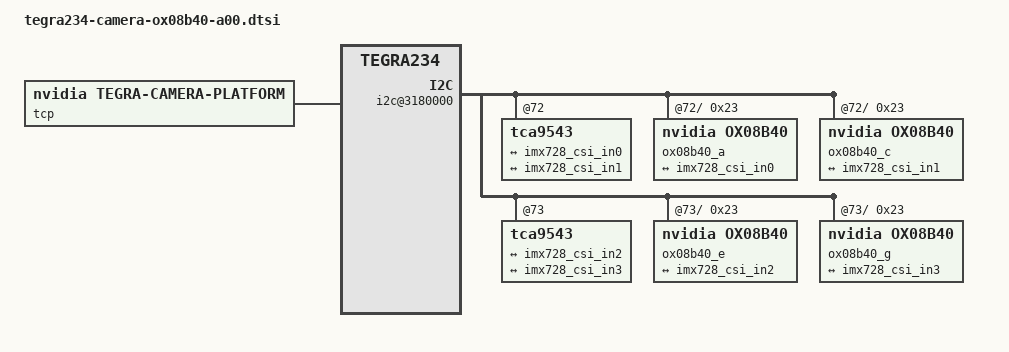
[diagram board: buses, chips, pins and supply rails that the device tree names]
/*
 * Copyright (c) 2018-2021, NVIDIA CORPORATION.  All rights reserved.
 *
 * This program is free software; you can redistribute it and/or modify it
 * under the terms and conditions of the GNU General Public License,
 * version 2, as published by the Free Software Foundation.
 *
 * This program is distributed in the hope it will be useful, but WITHOUT
 * ANY WARRANTY; without even the implied warranty of MERCHANTABILITY or
 * FITNESS FOR A PARTICULAR PURPOSE.  See the GNU General Public License for
 * more details.
 *
 * You should have received a copy of the GNU General Public License
 * along with this program.  If not, see <http://www.gnu.org/licenses/>.
 */
//#include <./tegra234-otocam-camera-all-mode.dtsi>
/ {
	tegra-capture-vi {
		num-channels = <4>;
		ports {
			#address-cells = <1>;
			#size-cells = <0>;
			port@0 {
				reg = <0>;
				imx728_vi_in0: endpoint {
					vc-id = <0>;
					port-index = <0>;
					bus-width = <4>;
					remote-endpoint = <&imx728_csi_out0>;
				};
			};
			port@1 {
				reg = <1>;
				imx728_vi_in1: endpoint {
					port-index = <2>;
					bus-width = <4>;
					remote-endpoint = <&imx728_csi_out1>;
				};
			};
			port@2 {
				reg = <2>;
				imx728_vi_in2: endpoint {
					port-index = <4>;
					bus-width = <4>;
					remote-endpoint = <&imx728_csi_out2>;
				};
			};
			port@3 {
				reg = <3>;
				imx728_vi_in3: endpoint {
					port-index = <5>;
					bus-width = <4>;
					remote-endpoint = <&imx728_csi_out3>;
				};
			};
		};
	};

	host1x@13e00000 {
		nvcsi@15a00000 {
			num-channels = <4>;
			#address-cells = <1>;
			#size-cells = <0>;
			channel@0 {
				reg = <0>;
				ports {
					#address-cells = <1>;
					#size-cells = <0>;
					port@0 {
						reg = <0>;
						imx728_csi_in0: endpoint@0 {
							port-index = <0>;
							bus-width = <4>;
							remote-endpoint = <&imx728_out0>;
						};
					};
					port@1 {
						reg = <1>;
						imx728_csi_out0: endpoint@1 {
							remote-endpoint = <&imx728_vi_in0>;
						};
					};
				};
			};
			channel@1 {
				reg = <1>;
				ports {
					#address-cells = <1>;
					#size-cells = <0>;
					port@0 {
						reg = <0>;
						imx728_csi_in1: endpoint@0 {
							port-index = <2>;
							bus-width = <4>;
							remote-endpoint = <&imx728_out1>;
						};
					};
					port@1 {
						reg = <1>;
						imx728_csi_out1: endpoint@1 {
							remote-endpoint = <&imx728_vi_in1>;
						};
					};
				};
			};
			channel@2 {
				reg = <2>;
				ports {
					#address-cells = <1>;
					#size-cells = <0>;
					port@0 {
						reg = <0>;
						imx728_csi_in2: endpoint@0 {
							port-index = <4>;
							bus-width = <4>;
							remote-endpoint = <&imx728_out2>;
						};
					};
					port@1 {
						reg = <1>;
						imx728_csi_out2: endpoint@1 {
							remote-endpoint = <&imx728_vi_in2>;
						};
					};
				};
			};
			channel@3 {
				reg = <3>;
				ports {
					#address-cells = <1>;
					#size-cells = <0>;
					port@0 {
						reg = <0>;
						imx728_csi_in3: endpoint@0 {
							port-index = <5>;
							bus-width = <4>;
							remote-endpoint = <&imx728_out3>;
						};
					};
					port@1 {
						reg = <1>;
						imx728_csi_out3: endpoint@1 {
							remote-endpoint = <&imx728_vi_in3>;
						};
					};
				};
			};
		};
	};

	i2c@3180000 {
		tca9543@72 {
			i2c@0 {
			ox08b40_a@23 {
				compatible = "nvidia,ox08b40";
				reg = <0x23>;
				devnode = "video0";
				reg_mux = <0>;
				/* Physical dimensions of sensor */
				physical_w = "15.0";
				physical_h = "12.5";

				sensor_model ="ox08b40";

				/* Defines number of frames to be dropped by driver internally after applying */
				/* sensor crop settings. Some sensors send corrupt frames after applying */
				/* crop co-ordinates */
				post_crop_frame_drop = "0";

				/* Convert Gain to unit of dB (decibel) befor passing to kernel driver */
				use_decibel_gain = "true";	// FIX:?

				/* if true, delay gain setting by one frame to be in sync with exposure */
					delayed_gain = "true";

				/* enable CID_SENSOR_MODE_ID for sensor modes selection */
				use_sensor_mode_id = "true";
				mode0 {
					mclk_khz = "27000";
					tegra_sinterface = "serial_a";
					phy_mode = "DPHY";
					vc_id = "0";
					num_lanes = "4";
					discontinuous_clk = "no";
					dpcm_enable = "false";
					cil_settletime = "0";
					dynamic_pixel_bit_depth = "16";
					csi_pixel_bit_depth = "16";
					mode_type = "yuv";
					pixel_phase = "uyvy";

					active_w = "3840";
					active_h = "2160";
					readout_orientation = "0";
					line_length = "5000";
					inherent_gain = "1";
					mclk_multiplier = "2";
					pix_clk_hz = "168750000";
					serdes_pix_clk_hz = "375000000";

					gain_factor = "10";
					min_gain_val = "0"; /* dB */
					max_gain_val = "480"; /* dB */
					step_gain_val = "3"; /* 0.1 */
					default_gain = "0";
					min_hdr_ratio = "1";
					max_hdr_ratio = "1";
					framerate_factor = "1000000";
					min_framerate = "30000000";
					max_framerate = "30000000";
					step_framerate = "1";
					default_framerate = "30000000";
					exposure_factor = "1000000";
					min_exp_time = "30"; /* us */
					max_exp_time = "33000";
					step_exp_time = "1";
					default_exp_time = "30000";/* us */
					embedded_metadata_height = "0";
					
				};
				ports {
					#address-cells = <1>;
					#size-cells = <0>;
					port@0 {
						reg = <0>;
						imx728_out0: endpoint {
							vc-id = <0>;
							port-index = <0>;
							bus-width = <4>;
							remote-endpoint = <&imx728_csi_in0>;
						};
					};
				};
			};

		};

                i2c@1 {
                        ox08b40_c@23 {
                                compatible = "nvidia,ox08b40";
                                reg = <0x23>;
                                devnode = "video1";
                                reg_mux = <1>;
                                physical_w = "15.0";
                                physical_h = "12.5";

                                sensor_model ="ox08b40";

                                post_crop_frame_drop = "0";

                                use_decibel_gain = "true";      // FIX:?

                                        delayed_gain = "true";

                                use_sensor_mode_id = "true";
                                mode0 {
                                        mclk_khz = "27000";
                                        tegra_sinterface = "serial_c";
                                        phy_mode = "DPHY";
                                        vc_id = "0";
                                        num_lanes = "4";
                                        discontinuous_clk = "no";
                                        dpcm_enable = "false";
                                        cil_settletime = "0";
                                        dynamic_pixel_bit_depth = "16";
                                        csi_pixel_bit_depth = "16";
                                        mode_type = "yuv";
                                        pixel_phase = "uyvy";

                                        active_w = "3840";
                                        active_h = "2160";
                                        readout_orientation = "0";
                                        line_length = "5000";
                                        inherent_gain = "1";
                                        mclk_multiplier = "2";
                                        pix_clk_hz = "168750000";
                                        serdes_pix_clk_hz = "375000000";

                                        gain_factor = "10";
                                        min_gain_val = "0"; /* dB */
                                        max_gain_val = "480"; /* dB */
                                        step_gain_val = "3"; /* 0.1 */
                                        default_gain = "0";
                                        min_hdr_ratio = "1";
                                        max_hdr_ratio = "1";
                                        framerate_factor = "1000000";
                                        min_framerate = "30000000";
                                        max_framerate = "30000000";
                                        step_framerate = "1";
                                        default_framerate = "30000000";
                                        exposure_factor = "1000000";
                                        min_exp_time = "30"; /* us */
                                        max_exp_time = "33000";
                                        step_exp_time = "1";
                                        default_exp_time = "30000";/* us */
                                        embedded_metadata_height = "0";

                                };
                                ports {
                                        #address-cells = <1>;
                                        #size-cells = <0>;
                                        port@0 {
                                                reg = <0>;
                                                imx728_out1: endpoint {
                                                        vc-id = <0>;
                                                        port-index = <2>;
                                                        bus-width = <4>;
                                                        remote-endpoint = <&imx728_csi_in1>;
                                                };
                                        };
                                };
                        };

                };

	};
               tca9543@73 {
                        i2c@0 {
                      ox08b40_e@23 {
                                compatible = "nvidia,ox08b40";
                                reg = <0x23>;
                                devnode = "video2";
                                reg_mux = <0>;
                                physical_w = "15.0";
                                physical_h = "12.5";

                                sensor_model ="ox08b40";

                                post_crop_frame_drop = "0";

                                use_decibel_gain = "true";   

                                        delayed_gain = "true";

                                use_sensor_mode_id = "true";
                                mode0 {
                                        mclk_khz = "27000";
                                        tegra_sinterface = "serial_e";
                                        phy_mode = "DPHY";
                                        vc_id = "0";
                                        num_lanes = "4";
                                        discontinuous_clk = "no";
                                        dpcm_enable = "false";
                                        cil_settletime = "0";
                                        dynamic_pixel_bit_depth = "16";
                                        csi_pixel_bit_depth = "16";
                                        mode_type = "yuv";
                                        pixel_phase = "uyvy";

                                        active_w = "3840";
                                        active_h = "2160";
                                        readout_orientation = "0";
                                        line_length = "5000";
                                        inherent_gain = "1";
                                        mclk_multiplier = "2";
                                        pix_clk_hz = "168750000";
                                        serdes_pix_clk_hz = "375000000";

                                        gain_factor = "10";
                                        min_gain_val = "0"; 
                                        max_gain_val = "480"; 
                                        step_gain_val = "3"; 
                                        default_gain = "0";
                                        min_hdr_ratio = "1";
                                        max_hdr_ratio = "1";
                                        framerate_factor = "1000000";
                                        min_framerate = "30000000";
                                        max_framerate = "30000000";
                                        step_framerate = "1";
                                        default_framerate = "30000000";
                                        exposure_factor = "1000000";
                                        min_exp_time = "30"; 
                                        max_exp_time = "33000";
                                        step_exp_time = "1";
                                        default_exp_time = "30000";
                                        embedded_metadata_height = "0";

                                };
                                ports {
                                        #address-cells = <1>;
                                        #size-cells = <0>;
                                        port@0 {
                                                reg = <0>;
                                                imx728_out2: endpoint {
                                                        vc-id = <0>;
                                                        port-index = <4>;
                                                        bus-width = <4>;
                                                        remote-endpoint = <&imx728_csi_in2>;
                                                };
                                        };
                                };
                        };

                }; 

                i2c@1 {
                        ox08b40_g@23 {
                                compatible = "nvidia,ox08b40";
                                reg = <0x23>;
                                devnode = "video03";
                                reg_mux = <1>;
                                physical_w = "15.0";
                                physical_h = "12.5";

                                sensor_model ="ox08b40";

                                post_crop_frame_drop = "0";

                                use_decibel_gain = "true";      

                                        delayed_gain = "true";

                                use_sensor_mode_id = "true";
                                mode0 {
                                        mclk_khz = "27000";
                                        tegra_sinterface = "serial_g";
                                        phy_mode = "DPHY";
                                        vc_id = "0";
                                        num_lanes = "4";
                                        discontinuous_clk = "no";
                                        dpcm_enable = "false";
                                        cil_settletime = "0";
                                        dynamic_pixel_bit_depth = "16";
                                        csi_pixel_bit_depth = "16";
                                        mode_type = "yuv";
                                        pixel_phase = "uyvy";

                                        active_w = "3840";
                                        active_h = "2160";
                                        readout_orientation = "0";
                                        line_length = "5000";
                                        inherent_gain = "1";
                                        mclk_multiplier = "2";
                                        pix_clk_hz = "168750000";
                                        serdes_pix_clk_hz = "375000000";

                                        gain_factor = "10";
                                        min_gain_val = "0"; 
                                        max_gain_val = "480"; 
                                        step_gain_val = "3"; 
                                        default_gain = "0";
                                        min_hdr_ratio = "1";
                                        max_hdr_ratio = "1";
                                        framerate_factor = "1000000";
                                        min_framerate = "30000000";
                                        max_framerate = "30000000";
                                        step_framerate = "1";
                                        default_framerate = "30000000";
                                        exposure_factor = "1000000";
                                        min_exp_time = "30"; 
                                        max_exp_time = "33000";
                                        step_exp_time = "1";
                                        default_exp_time = "30000"; 
                                        embedded_metadata_height = "0";

                                };
                                ports {
                                        #address-cells = <1>;
                                        #size-cells = <0>;
                                        port@0 {
                                                reg = <0>;
                                                imx728_out3: endpoint {
                                                        vc-id = <0>;
                                                        port-index = <5>;
                                                        bus-width = <4>;
                                                        remote-endpoint = <&imx728_csi_in3>;
                                                };
                                        };
                                };
                        };
                }; 
        };
};


};

/ {

	tcp: tegra-camera-platform {
		compatible = "nvidia, tegra-camera-platform";
		/**
		* Physical settings to calculate max ISO BW
		*
		* num_csi_lanes = <>;
		* Total number of CSI lanes when all cameras are active
		*
		* max_lane_speed = <>;
		* Max lane speed in Kbit/s
		*
		* min_bits_per_pixel = <>;
		* Min bits per pixel
		*
		* vi_peak_byte_per_pixel = <>;
		* Max byte per pixel for the VI ISO case
		*
		* vi_bw_margin_pct = <>;
		* Vi bandwidth margin in percentage
		*
		* max_pixel_rate = <>;
		* Max pixel rate in Kpixel/s for the ISP ISO case
		*
		* isp_peak_byte_per_pixel = <>;
		* Max byte per pixel for the ISP ISO case
		*
		* isp_bw_margin_pct = <>;
		* Isp bandwidth margin in percentage
		*/
		num_csi_lanes = <16>;
//#ifdef CAM_SERDES_GMSL)
		max_lane_speed = <1500000>;
//#else	// CAM_SERDES_FPDL
//		max_lane_speed = <1500000>;	// FIX:?
//#endif
		min_bits_per_pixel = <10>;	// FIX:* 10
		vi_peak_byte_per_pixel = <2>;
		vi_bw_margin_pct = <25>;
		//max_pixel_rate = <7500000>;	// FIX:? 160|200|300|750
		isp_peak_byte_per_pixel = <5>;
		isp_bw_margin_pct = <25>;

		/**
		 * The general guideline for naming badge_info contains 3 parts, and is as follows,
		 * The first part is the camera_board_id for the module; if the module is in a FFD
		 * platform, then use the platform name for this part.
		 * The second part contains the position of the module, ex. "rear" or "front".
		 * The third part contains the last 6 characters of a part number which is found
		 * in the module's specsheet from the vender.
		 */
		modules {
			module0 {
				badge = "imx728_rear";
				position = "rear";
				orientation = "1";
				drivernode0 {
					/* Declare PCL support driver (classically known as guid)  */
					pcl_id = "v4l2_sensor";
					/* Driver v4l2 device name */
					devname = "ox08b40 30-0023";
					/* Declare the device-tree hierarchy to driver instance */
					proc-device-tree = "/proc/device-tree/i2c@3180000/tca9543@72/i2c@0/ox08b40_a@23";
				};
			};
                        module1 {
                                badge = "imx728_front";
                                position = "front";
                                orientation = "1";
                                drivernode0 {
                                        /* Declare PCL support driver (classically known as guid)  */
                                        pcl_id = "v4l2_sensor";
                                        /* Driver v4l2 device name */
                                        devname = "ox08b40 31-0023";
                                        /* Declare the device-tree hierarchy to driver instance */
                                        proc-device-tree = "/proc/device-tree/i2c@3180000/tca9543@72/i2c@1/ox08b40_c@23";
                                };
                        };
                        module2 {
                                badge = "imx728_left";
                                position = "left";
                                orientation = "1";
                                drivernode0 {
                                        pcl_id = "v4l2_sensor";
                                        devname = "ox08b40 32-0023";
                                        proc-device-tree = "/proc/device-tree/i2c@3180000/tca9543@73/i2c@0/ox08b40_e@23";
                                };
                        };
                        module3 {
                                badge = "imx728_right";
                                position = "right";
                                orientation = "1";
                                drivernode0 {
                                        pcl_id = "v4l2_sensor";
                                        devname = "ox08b40 33-0023";
                                        proc-device-tree = "/proc/device-tree/i2c@3180000/tca9543@73/i2c@1/ox08b40_g@23";
                                };
                        }; 
		};
	};
};


